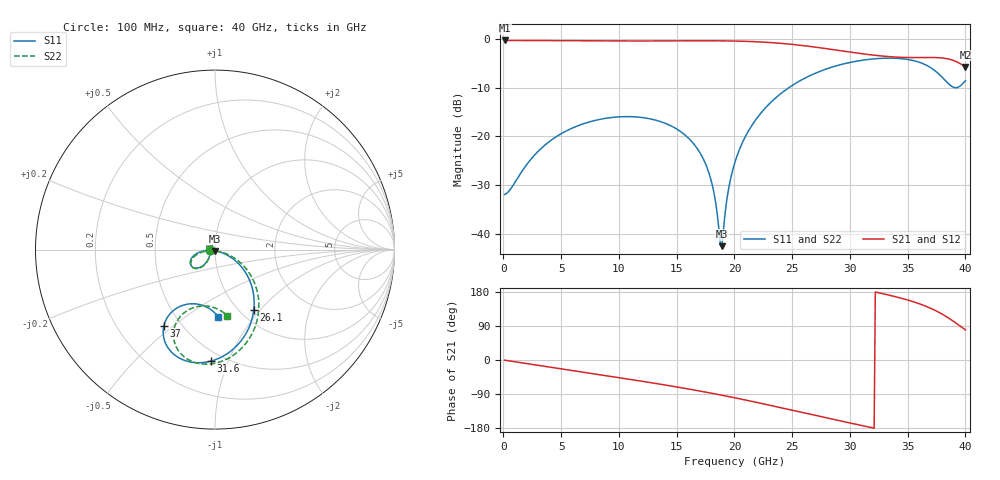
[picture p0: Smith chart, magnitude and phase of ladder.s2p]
! A_s4_d300_ap600: via ladder as kisi uses it (kisi_si::via_pbm, graded grid, junction model), ports at the via
# Hz S RI R 50
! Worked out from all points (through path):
!   400 points, 100 MHz to 40 GHz, reference 50 ohm
!   highest |S21| = -0.22 dB at 100 MHz (marker M1); lowest = -5.7 dB at 40 GHz (marker M2)
!   group delay of S21, straight-line fit = 17.3 ps
!   lowest |S11| = -42.6 dB at 18.9 GHz (marker M3), VSWR 1.01, Z = 50.1 - j0.741 ohm
!   |S11| at or under -10 dB: start of sweep to 24.68 GHz
!   |S22| runs from -42.6 to -3.9 dB; largest |S21 - S12| = 0
!   S11 on the Smith chart (normalised r, x): 100 MHz: 0.95, -0.00; 26.1 GHz: 1.16, -0.92; 31.6 GHz: 0.43, -0.87; 37 GHz: 0.40, -0.46; 40 GHz: 0.78, -0.68
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1e8  -0.0252 -0.00205  0.9747 -0.00792  0.9747 -0.00792  -0.0252 -0.00206
3.3e9  -0.0427 -0.0629  0.9377 -0.2572  0.9377 -0.2572  -0.042 -0.0634
6.8e9  -0.0881 -0.1006  0.8238 -0.506  0.8238 -0.506  -0.0858 -0.1025
1.02e10  -0.1294 -0.0938  0.6512 -0.7092  0.6512 -0.7092  -0.1261 -0.0981
1.34e10  -0.1341 -0.0547  0.4384 -0.8583  0.4384 -0.8583  -0.1315 -0.0607
1.57e10  -0.1018 -0.0218  0.2534 -0.9326  0.2534 -0.9326  -0.1005 -0.0271
1.73e10  -0.0585 -0.00683  0.1085 -0.9614  0.1085 -0.9614  -0.058 -0.0102
1.82e10  -0.0269 -0.00469  0.0217 -0.9668  0.0217 -0.9668  -0.0266 -0.00631
1.85e10  -0.0154 -0.00533  -0.00792 -0.9666  -0.00792 -0.9666  -0.0151 -0.00626
1.88e10  -0.00346 -0.00675  -0.0378 -0.9652  -0.0378 -0.9652  -0.00303 -0.00694
1.89e10  0.000615 -0.0074  -0.0479 -0.9646  -0.0479 -0.9646  0.00108 -0.00733
1.94e10  0.0216 -0.0121  -0.0983 -0.9592  -0.0983 -0.9592  0.0223 -0.0107
2.01e10  0.0521 -0.0231  -0.1695 -0.9459  -0.1695 -0.9459  0.0535 -0.0195
2.11e10  0.0964 -0.0485  -0.2707 -0.9146  -0.2707 -0.9146  0.0996 -0.0415
2.24e10  0.1504 -0.0997  -0.3967 -0.851  -0.3967 -0.851  0.1574 -0.0882
2.61e10  0.216 -0.3353  -0.6591 -0.5505  -0.6591 -0.5505  0.2444 -0.3152
2.67e10  0.2084 -0.3783  -0.6825 -0.492  -0.6825 -0.492  0.2413 -0.3582
3.16e10  -0.0225 -0.6212  -0.697 -0.0416  -0.697 -0.0416  0.0432 -0.6201
3.34e10  -0.1435 -0.6248  -0.6561 0.1034  -0.6561 0.1034  -0.073 -0.6369
3.7e10  -0.2847 -0.4241  -0.4713 0.4492  -0.4713 0.4492  -0.2303 -0.456
3.9e10  -0.1042 -0.3029  -0.1197 0.5925  -0.1197 0.5925  -0.0639 -0.3139
4e10  0.019 -0.3755  0.0946 0.5109  0.0946 0.5109  0.0688 -0.3696
